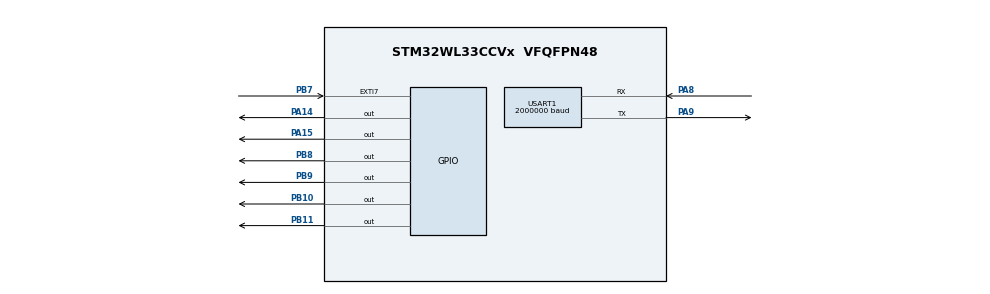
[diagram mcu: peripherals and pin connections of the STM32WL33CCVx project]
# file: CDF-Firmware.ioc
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MRSUBG.DataWhitening=DISABLE
MRSUBG.PADrvMode=PA_DRV_TX_HP
MRSUBG.PreambleLength=8
MRSUBG.SyncLength=31
MRSUBG.SyncWord=0x88888888
MRSUBG.lBandwidth=800000
MRSUBG.lDatarate=38400
MRSUBG.lFreqDev=20000
MRSUBG.lFrequencyBase=433000000
MRSUBG.outputPower=14
MRSUBG.xModulationSelect=MOD_OOK
Mcu.Family=STM32WL3
Mcu.Name=STM32WL33CCVx
Mcu.Package=VFQFPN48
Mcu.UserConstants=PAYLOAD_LENGTH,0
NVIC.GPIOB_IRQn=true\:0\:0\:false\:false\:true\:true\:true\:true
NVIC.USART1_IRQn=true\:0\:0\:false\:false\:true\:true\:true\:true
OSCIN.Mode=HSE-External-Oscillator
OSCIN.Signal=RCC_OSC_IN
OSCOUT.Mode=HSE-External-Oscillator
OSCOUT.Signal=RCC_OSC_OUT
PA14.Signal=GPIO_Output
PA15.Signal=GPIO_Output
PA8.Mode=Asynchronous
PA8.Signal=USART1_RX
PA9.Mode=Asynchronous
PA9.Signal=USART1_TX
PB10.Signal=GPIO_Output
PB11.Signal=GPIO_Output
PB7.Signal=GPXTI7
PB8.Signal=GPIO_Output
PB9.Signal=GPIO_Output
ProjectManager.HeapSize=0x000
ProjectManager.StackSize=0xC00
ProjectManager.TargetToolchain=STM32CubeIDE
RCC.HSE_VALUE=48000000
RCC.HSI_VALUE=64000000
RCC.LSE_VALUE=32768
RCC.RC64MPLLSource=RCC_LSCOSOURCE_PLL64
TIM16.Period=0xFFFF-1
TIM2.Period=0xFFFF-1
TIM2.Prescaler=64-1
USART1.BaudRate=2000000
USART1.OverSampling=UART_OVERSAMPLING_8
USART1.VirtualMode-Asynchronous=VM_ASYNC
VP_IWDG_VS_IWDG.Mode=IWDG_Activate
VP_MRSUBG_VS_RF.Mode=MRSUBG_Activate
VP_PWR_VS_SECSignals.Mode=Security/Privilege
VP_RNG_VS_RNG.Mode=RNG_Activate
VP_TIM16_VS_ClockSourceINT.Mode=Enable_Timer
VP_TIM2_VS_ClockSourceINT.Mode=Internal
board=custom

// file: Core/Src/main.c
/* USER CODE BEGIN Header */
/**
  ******************************************************************************
  * @file           : main.c
  * @brief          : Main program body
  ******************************************************************************
  * @attention
  *
  * Copyright (c) 2026 STMicroelectronics.
  * All rights reserved.
  *
  * This software is licensed under terms that can be found in the LICENSE file
  * in the root directory of this software component.
  * If no LICENSE file comes with this software, it is provided AS-IS.
  *
  ******************************************************************************
  */
/* USER CODE END Header */
#include "main.h"

/* USER CODE BEGIN Includes */
#include <stdint.h>
#include <stdio.h>
#include <inttypes.h>
#include <stdbool.h>

#include "my_stm32wl3x_hal.h"
#include "banner.h"
#include "frame.h"
#include "BSP_CDF_V1.h"
/* USER CODE END Includes */

/* USER CODE BEGIN PTD */
#define N_IQ_SAMPLES_PER_BUFFER 3500
//typedef struct {
//    IQ buf0[N_IQ_SAMPLES_PER_BUFFER];
//    IQ buf1[N_IQ_SAMPLES_PER_BUFFER];
//} IqBuffers;

typedef union {
  struct {
      int16_t I;
      int16_t Q;
  } iq;
  struct {
      uint8_t b0;
      uint8_t b1;
      uint8_t b2;
      uint8_t b3;
  } bytes;
  uint32_t u32;
} IQ;

typedef union {
  IQ iq[N_IQ_SAMPLES_PER_BUFFER];
  uint8_t w[N_IQ_SAMPLES_PER_BUFFER * 4];
} Buffer;

typedef struct {
  Buffer buf0;
  Buffer buf1;
} Buffers;

typedef enum {
  IDLE,
  RECEIVING_IQ,
  ABORTING_AFTER_RECEIVE_IQ,
  RECEIVING_NORMAL,
  ABORTING_AFTER_RECEIVE_NORMAL_TIMEOUT,
  BEACON
} State;

/* USER CODE END PTD */

/* USER CODE BEGIN PM */
#define is ==
#define and &&
#define not !

#define rn "\r\n"

#define BEGIN_UART_RX HAL_UART_Receive_IT(&huart1, uartRxBuffer, 1);
/* USER CODE END PM */

IWDG_HandleTypeDef hiwdg;

SMRSubGConfig MRSUBG_RadioInitStruct;
MRSubG_PcktBasicFields MRSUBG_PacketSettingsStruct;

RNG_HandleTypeDef hrng;

TIM_HandleTypeDef htim2;
TIM_HandleTypeDef htim16;

UART_HandleTypeDef huart1;

/* USER CODE BEGIN PV */
__attribute__((aligned(4))) Buffers buffers;

#define UART_RX_BUFFER_SIZE 16
uint8_t uartRxBuffer[UART_RX_BUFFER_SIZE];

char command = 0;
bool extiTriggered = false;
uint32_t const beaconPeriodMs = 100;
uint32_t lastBeaconTime = 0;
/* USER CODE END PV */

void SystemClock_Config(void);
void PeriphCommonClock_Config(void);
static void MX_GPIO_Init(void);
static void MX_USART1_UART_Init(void);
static void MX_IWDG_Init(void);
static void MX_RNG_Init(void);
static void MX_MRSUBG_Init(void);
static void MX_TIM2_Init(void);
static void MX_TIM16_Init(void);

/* USER CODE BEGIN 0 */
// Makes UART work with printf
int __io_putchar(int ch) {
  HAL_UART_Transmit(&huart1, (uint8_t *)&ch, 1, HAL_MAX_DELAY);
  return ch;
}

static inline uint16_t getUs(void) {
  return __HAL_TIM_GET_COUNTER(&htim2);
}
static inline bool usHavePassed(uint16_t const start, uint16_t const period) {
  return getUs() - start >= period;
}
static inline void delayUs(uint16_t delay) {
  uint16_t const start = getUs();
  while (not usHavePassed(start, delay)) {
    HAL_IWDG_Refresh(&hiwdg);
  }
}

static inline uint32_t getMs(void) {
  return HAL_GetTick();
}
static inline bool msHavePassed(uint32_t const start, uint32_t const period) {
  return getMs() - start >= period;
}

/* USER CODE END 0 */

int main(void)
{

  /* MCU Configuration--------------------------------------------------------*/

  /* Reset of all peripherals, Initializes the Flash interface and the Systick. */
  HAL_Init();

  /* Configure the system clock */
  SystemClock_Config();

  /* Configure the peripherals common clocks */
  PeriphCommonClock_Config();

  /* USER CODE BEGIN SysInit */
  // Initialize with ordered, easily debuggable values
  for (uint32_t i = 0; i < N_IQ_SAMPLES_PER_BUFFER; ++i) {
    buffers.buf0.iq[i].bytes.b0 = (uint8_t)(i);
    buffers.buf0.iq[i].bytes.b1 = (uint8_t)(i);
    buffers.buf0.iq[i].bytes.b2 = (uint8_t)(i);
    buffers.buf0.iq[i].bytes.b3 = (uint8_t)(i);
    buffers.buf1.iq[i].bytes.b0 = (uint8_t)(i);
    buffers.buf1.iq[i].bytes.b1 = (uint8_t)(i);
    buffers.buf1.iq[i].bytes.b2 = (uint8_t)(i);
    buffers.buf1.iq[i].bytes.b3 = (uint8_t)(i);
  }
  /* USER CODE END SysInit */

  /* Initialize all configured peripherals */
  MX_GPIO_Init();
  MX_USART1_UART_Init();
  MX_IWDG_Init();
  MX_RNG_Init();
  MX_MRSUBG_Init();
  MX_TIM2_Init();
  MX_TIM16_Init();
  /* USER CODE BEGIN 2 */
  HAL_TIM_Base_Start(&htim2);
  HAL_TIM_Base_Start(&htim16);
  bool const iAmMaster = HAL_GET_UID64_L() is 0x4FDFDA07;

  printf(rn rn);
  printf(BANNER rn);
  printf("@ %s - %s"rn, __DATE__, __TIME__);
  BEGIN_UART_RX;

  HAL_MRSUBG_SET_AGC_MEAS_TIME_BITS(10);
  HAL_MRSUBG_SET_AGC_FREEZE_ON_SYNC(false);
  HAL_MRSUBG_SET_AGC_FREEZE_ON_STEADY(false);
  BSP_SWITCH_RF_PATH_ANTENNAS();
  /* USER CODE END 2 */

  /* Infinite loop */
  /* USER CODE BEGIN WHILE */
  State state = IDLE;
  bool fullFrames = false;
  uint16_t const shortFrameWidth = 500;
  uint16_t const shortFrameCaliStart = 130;
  uint16_t const shortFramePongStart = 5200;
  uint16_t pingTimestampMs = 0;
  while (1) {
    /* USER CODE END WHILE */

    /* USER CODE BEGIN 3 */

    // Command Interpreter
    if (command != 0) {
      if (command is 'a') {
        BSP_SWITCH_RF_PATH_ANTENNAS();
        printf("RF path set to antennas"rn);
      }
      else if (command is 'b') {
        BSP_SWITCH_RF_PATH_COMMON();
        printf("RF path set to common"rn);
      }
      else if (command is 'c') {
        if (state is IDLE) {
          state = BEACON;
          printf("Beacon mode enabled with T=%" PRId32 " ms"rn, beaconPeriodMs);
        } else if (state is BEACON) {
          state = IDLE;
          printf("Beacon mode disabled."rn);
        } else {
          printf("Can't switch beacon mode while in state %d"rn, state);
        }
      }
      else if (command is 'd') {
        printf("%s - %s"rn, __DATE__, __TIME__);
      }
      else if (command is 'g') {
        HAL_MRSUBG_SET_AGC_ENABLED(not HAL_MRSUBG_GET_AGC_ENABLED());
        printf("Automatic Gain Control=%d"rn, HAL_MRSUBG_GET_AGC_ENABLED());
      }
      else if (command is 'm') {
        int const msgLengthBits =
          MRSUBG_PacketSettingsStruct.PreambleLength +
          ( (MRSUBG_PacketSettingsStruct.SyncPresent == ENABLE) ? MRSUBG_PacketSettingsStruct.SyncLength : 0) +
          ( (MRSUBG_PacketSettingsStruct.FixVarLength == FIXED) ? 0 : (8*(1+MRSUBG_PacketSettingsStruct.LengthWidth)) ) +
          PAYLOAD_LENGTH +
          MRSUBG_PacketSettingsStruct.PostambleLength +
          crcBits(MRSUBG_PacketSettingsStruct.CrcMode)
        ;
        printf("Message structure: (%d bits total)"rn
          "        Preamble  : %d"rn
          "        Sync      : %d"rn
          "        Len       : %d"rn
          "        Payload   : %d"rn
          "        Postamble : %d"rn
          "        CRC       : %d"rn
          , msgLengthBits
          , MRSUBG_PacketSettingsStruct.PreambleLength
          , ( (MRSUBG_PacketSettingsStruct.SyncPresent == ENABLE) ? MRSUBG_PacketSettingsStruct.SyncLength : 0)
          , ( (MRSUBG_PacketSettingsStruct.FixVarLength == FIXED) ? 0 : (8*(1+MRSUBG_PacketSettingsStruct.LengthWidth)) )
          , PAYLOAD_LENGTH
          , MRSUBG_PacketSettingsStruct.PostambleLength
          , crcBits(MRSUBG_PacketSettingsStruct.CrcMode)
        );

        float const msgLengthMs = 1000.0f * (msgLengthBits) / MRSUBG_RadioInitStruct.lDatarate;
        printf("Msg duration = %f ms"rn, msgLengthMs);
      }
      else if (command is 'p') {
        transmitFrame(
          N_IQ_SAMPLES_PER_BUFFER * sizeof(IQ),
          buffers.buf0.w,
          N_IQ_SAMPLES_PER_BUFFER * sizeof(IQ),
          buffers.buf1.w,
          &hiwdg
        );
      }
      else if (command is 'r') {
        printf("Resetting..."rn);
        NVIC_SystemReset();
      }
      else if (command is 't') {
        if (state is IDLE) {
          printf("Transmitting..."rn);
          startTx();
          waitForTxDone();
          printf("Transmission finished"rn);
        } else {
          printf("Can't Transmit when not in idle"rn);
        }
      }
      else if (command is 'u') {
        printf("%" PRIX32 "-%" PRIX32 " %s"rn, HAL_GET_UID64_M(), HAL_GET_UID64_L(), iAmMaster ? "(MASTER)" : "");
      }
      else if (command is 'v') {
        fullFrames = false;
        printf("Enabled short frame mode %" PRIu16 ":%" PRIu16 ", %" PRIu16 ":%" PRIu16 rn, shortFrameCaliStart, shortFrameWidth, shortFramePongStart, shortFrameWidth);
      }
      else if (command is 'w') {
        fullFrames = true;
        printf("Enabled full frame mode"rn);
      }
      else if (command is 'x') {
        if (iAmMaster) {
          if (state is IDLE) {
            printf("Starting routine"rn);

            // Positive Flanke. Löst bei slaves exti aus, der aufzeichnung startet
            HAL_GPIO_WriteMultipleStatePin(GPIOB, 0, GPIO_PIN_8 | GPIO_PIN_9 | GPIO_PIN_10 | GPIO_PIN_11);
            HAL_GPIO_WriteMultipleStatePin(GPIOB, GPIO_PIN_8 | GPIO_PIN_9 | GPIO_PIN_10 | GPIO_PIN_11, 0);
            // Kalibrier-Nachricht senden
            BSP_SWITCH_RF_PATH_COMMON();
            LL_MRSubG_SetSecondarySync(true);
            LL_MRSubG_SetSecondarySyncWord(0xFFFFFFFF);
            startTx();
            waitForTxDone();
            printf("Calibration sent"rn);
            // Ping senden
            BSP_SWITCH_RF_PATH_ANTENNAS();
            LL_MRSubG_SetSecondarySync(false);
            startTx();
            pingTimestampMs = getMs();
            waitForTxDone();
            delayUs(50);
            printf("Ping sent"rn);
            // Als master jetzt selbst auf normalen empfang schalten
            LL_MRSubG_SetSecondarySync(true);
            LL_MRSubG_SetSecondarySyncWord(0xFFFFFFFF);
            startNormalRx();
            state = RECEIVING_NORMAL;
            printf("Normal RX started on master after routine"rn);
          } else {
            printf("Can't start routine when not in idle"rn);
          }
        }
      }

      command = 0;
    } // End Command Interpreter

    if (extiTriggered) {
      extiTriggered = false;
      if (state is IDLE) {
        if (not iAmMaster) {
          printf("Slave started IQ RX on EXTI"rn);
          startIqRx();
          state = RECEIVING_IQ;
        } else {
          printf("EXTI on master!?!?!? ignored."rn);
        }
      } else {
        printf("EXTI ignored while not in IDLE."rn);
      }
    }

    // Radio Handling

    // Fehlermeldung
    if (__HAL_MRSUBG_GET_RFSEQ_IRQ_STATUS() & MR_SUBG_GLOB_STATUS_RFSEQ_IRQ_STATUS_COMMAND_REJECTED_F) {
      __HAL_MRSUBG_CLEAR_RFSEQ_IRQ_FLAG(MR_SUBG_GLOB_STATUS_RFSEQ_IRQ_STATUS_COMMAND_REJECTED_F);
      printf("COMMAND REJECTED"rn);
    }

    // Wenn beide Buffer beschrieben wurden, Empfang stoppen
    // TODO: Eventuell werden schon die ersten paar samples im ersten Buffer wieder überschrieben
    if (state is RECEIVING_IQ and HAL_MRSUBG_GET_NUMBER_OF_BUFFERS_USED() >= 2) {
      __HAL_MRSUBG_STROBE_CMD(CMD_SABORT);
      state = ABORTING_AFTER_RECEIVE_IQ;
      HAL_GPIO_WritePin(GPIOB, GPIO_PIN_0, GPIO_PIN_RESET);
    }
    // Wenn gestoppt, Daten ausgeben und zurück zu IDLE Betrieb
    if (state is ABORTING_AFTER_RECEIVE_IQ and
      __HAL_MRSUBG_GET_RFSEQ_IRQ_STATUS() & MR_SUBG_GLOB_STATUS_RFSEQ_IRQ_STATUS_SABORT_DONE_F
    ) {
      __HAL_MRSUBG_CLEAR_RFSEQ_IRQ_FLAG(MR_SUBG_GLOB_STATUS_RFSEQ_IRQ_STATUS_SABORT_DONE_F);

      uint8_t* pointerToOlderBuffer;
      uint8_t* pointerToNewerBuffer;
      int newerBuffer = not HAL_MRSUBG_GET_CURRENT_BUFFER(); // Negieren, weil Buffer bereits gewechselt wurde
      if (newerBuffer == 1) {
        pointerToOlderBuffer = buffers.buf0.w;
        pointerToNewerBuffer = buffers.buf1.w;
      } else {
        pointerToOlderBuffer = buffers.buf1.w;
        pointerToNewerBuffer = buffers.buf0.w;
      }
      transmitFrame(
        N_IQ_SAMPLES_PER_BUFFER * sizeof(IQ),
        pointerToOlderBuffer,
        N_IQ_SAMPLES_PER_BUFFER * sizeof(IQ),
        pointerToNewerBuffer,
        &hiwdg
      );
      state = IDLE;
    }
    if (state is RECEIVING_NORMAL and
      __HAL_MRSUBG_GET_RFSEQ_IRQ_STATUS() & MR_SUBG_GLOB_STATUS_RFSEQ_IRQ_STATUS_SYNC_VALID_F
    ) {
      __HAL_MRSUBG_CLEAR_RFSEQ_IRQ_FLAG(MR_SUBG_GLOB_STATUS_RFSEQ_IRQ_STATUS_SYNC_VALID_F);
      uint16_t const rssiOnSync = LL_MRSubG_GetRssiLevelOnSync();
      uint32_t const roundTripTime = getMs()-pingTimestampMs;
      printf("Pong! after %"PRIu32" ms | rssi=%"PRIu16""rn, roundTripTime, rssiOnSync);
      // TODO: Wenn das packet daten hätte, dann hier auslesen
      state = IDLE;
    }
    uint16_t const pingTimeoutMs = 20;
    if (state is RECEIVING_NORMAL and msHavePassed(pingTimestampMs, pingTimeoutMs)) {
      __HAL_MRSUBG_STROBE_CMD(CMD_SABORT);
      state = ABORTING_AFTER_RECEIVE_NORMAL_TIMEOUT;
    }
    if (state is ABORTING_AFTER_RECEIVE_NORMAL_TIMEOUT and
      __HAL_MRSUBG_GET_RFSEQ_IRQ_STATUS() & MR_SUBG_GLOB_STATUS_RFSEQ_IRQ_STATUS_SABORT_DONE_F
    ) {
      __HAL_MRSUBG_CLEAR_RFSEQ_IRQ_FLAG(MR_SUBG_GLOB_STATUS_RFSEQ_IRQ_STATUS_SABORT_DONE_F);
      printf("Timeout! Ping wasnt pong'd after %d ms"rn, pingTimeoutMs);
      state = IDLE;
    }

    if (state is BEACON and HAL_GetTick() - lastBeaconTime >= beaconPeriodMs) {
      startTx();
      waitForTxDone();
      lastBeaconTime = HAL_GetTick();
    }
    // Reset Watchdog
    HAL_IWDG_Refresh(&hiwdg);
  }
  /* USER CODE END 3 */
}

void SystemClock_Config(void)
{
  RCC_OscInitTypeDef RCC_OscInitStruct = {0};
  RCC_ClkInitTypeDef RCC_ClkInitStruct = {0};

  /** Initializes the RCC Oscillators according to the specified parameters
  * in the RCC_OscInitTypeDef structure.
  */
  RCC_OscInitStruct.OscillatorType = RCC_OSCILLATORTYPE_LSI|RCC_OSCILLATORTYPE_HSE;
  RCC_OscInitStruct.HSEState = RCC_HSE_ON;
  RCC_OscInitStruct.LSIState = RCC_LSI_ON;
  if (HAL_RCC_OscConfig(&RCC_OscInitStruct) != HAL_OK)
  {
    Error_Handler();
  }

  /** Configure the SYSCLKSource and SYSCLKDivider
  */
  RCC_ClkInitStruct.SYSCLKSource = RCC_SYSCLKSOURCE_RC64MPLL;
  RCC_ClkInitStruct.SYSCLKDivider = RCC_RC64MPLL_DIV1;

  if (HAL_RCC_ClockConfig(&RCC_ClkInitStruct, FLASH_WAIT_STATES_1) != HAL_OK)
  {
    Error_Handler();
  }
}

void PeriphCommonClock_Config(void)
{
  RCC_PeriphCLKInitTypeDef PeriphClkInitStruct = {0};

  /** Initializes the peripherals clock
  */
  PeriphClkInitStruct.PeriphClockSelection = RCC_PERIPHCLK_SMPS;
  PeriphClkInitStruct.SmpsDivSelection = RCC_SMPSCLK_DIV2;
  PeriphClkInitStruct.KRMRateMultiplier = 2;

  if (HAL_RCCEx_PeriphCLKConfig(&PeriphClkInitStruct) != HAL_OK)
  {
    Error_Handler();
  }
}

static void MX_IWDG_Init(void)
{

  hiwdg.Instance = IWDG;
  hiwdg.Init.Prescaler = IWDG_PRESCALER_4;
  hiwdg.Init.Window = 4095;
  hiwdg.Init.Reload = 4095;
  if (HAL_IWDG_Init(&hiwdg) != HAL_OK)
  {
    Error_Handler();
  }

}

static void MX_MRSUBG_Init(void)
{

  /** Configures the radio parameters
  */
  MRSUBG_RadioInitStruct.lFrequencyBase = 433000000;
  MRSUBG_RadioInitStruct.xModulationSelect = MOD_OOK;
  MRSUBG_RadioInitStruct.lDatarate = 38400;
  MRSUBG_RadioInitStruct.lFreqDev = 20000;
  MRSUBG_RadioInitStruct.lBandwidth = 800000;
  MRSUBG_RadioInitStruct.dsssExp = 0;
  MRSUBG_RadioInitStruct.outputPower = 14;
  MRSUBG_RadioInitStruct.PADrvMode = PA_DRV_TX_HP;
  HAL_MRSubG_Init(&MRSUBG_RadioInitStruct);

  /** Configures the packet parameters
  */
  MRSUBG_PacketSettingsStruct.PreambleLength = 8;
  MRSUBG_PacketSettingsStruct.PostambleLength = 0;
  MRSUBG_PacketSettingsStruct.SyncLength = 31;
  MRSUBG_PacketSettingsStruct.SyncWord = 0x88888888;
  MRSUBG_PacketSettingsStruct.FixVarLength = FIXED;
  MRSUBG_PacketSettingsStruct.PreambleSequence = PRE_SEQ_0101;
  MRSUBG_PacketSettingsStruct.PostambleSequence = POST_SEQ_0101;
  MRSUBG_PacketSettingsStruct.CrcMode = PKT_NO_CRC;
  MRSUBG_PacketSettingsStruct.Coding = CODING_NONE;
  MRSUBG_PacketSettingsStruct.DataWhitening = DISABLE;
  MRSUBG_PacketSettingsStruct.LengthWidth = BYTE_LEN_1;
  MRSUBG_PacketSettingsStruct.SyncPresent = ENABLE;
  HAL_MRSubG_PacketBasicInit(&MRSUBG_PacketSettingsStruct);

}

static void MX_RNG_Init(void)
{

  hrng.Instance = RNG;
  hrng.Init.ClockErrorDetection = RNG_CED_ENABLE;
  if (HAL_RNG_Init(&hrng) != HAL_OK)
  {
    Error_Handler();
  }

}

static void MX_TIM2_Init(void)
{

  TIM_ClockConfigTypeDef sClockSourceConfig = {0};
  TIM_MasterConfigTypeDef sMasterConfig = {0};

  htim2.Instance = TIM2;
  htim2.Init.Prescaler = 64-1;
  htim2.Init.CounterMode = TIM_COUNTERMODE_UP;
  htim2.Init.Period = 0xFFFF-1;
  htim2.Init.ClockDivision = TIM_CLOCKDIVISION_DIV1;
  htim2.Init.AutoReloadPreload = TIM_AUTORELOAD_PRELOAD_DISABLE;
  if (HAL_TIM_Base_Init(&htim2) != HAL_OK)
  {
    Error_Handler();
  }
  sClockSourceConfig.ClockSource = TIM_CLOCKSOURCE_INTERNAL;
  if (HAL_TIM_ConfigClockSource(&htim2, &sClockSourceConfig) != HAL_OK)
  {
    Error_Handler();
  }
  sMasterConfig.MasterOutputTrigger = TIM_TRGO_RESET;
  sMasterConfig.MasterSlaveMode = TIM_MASTERSLAVEMODE_DISABLE;
  if (HAL_TIMEx_MasterConfigSynchronization(&htim2, &sMasterConfig) != HAL_OK)
  {
    Error_Handler();
  }

}

static void MX_TIM16_Init(void)
{

  TIM_MasterConfigTypeDef sMasterConfig = {0};

  htim16.Instance = TIM16;
  htim16.Init.Prescaler = 0;
  htim16.Init.CounterMode = TIM_COUNTERMODE_UP;
  htim16.Init.Period = 0xFFFF-1;
  htim16.Init.ClockDivision = TIM_CLOCKDIVISION_DIV1;
  htim16.Init.RepetitionCounter = 0;
  htim16.Init.AutoReloadPreload = TIM_AUTORELOAD_PRELOAD_DISABLE;
  if (HAL_TIM_Base_Init(&htim16) != HAL_OK)
  {
    Error_Handler();
  }
  sMasterConfig.MasterOutputTrigger = TIM_TRGO_RESET;
  sMasterConfig.MasterSlaveMode = TIM_MASTERSLAVEMODE_DISABLE;
  if (HAL_TIMEx_MasterConfigSynchronization(&htim16, &sMasterConfig) != HAL_OK)
  {
    Error_Handler();
  }

}

static void MX_USART1_UART_Init(void)
{

  huart1.Instance = USART1;
  huart1.Init.BaudRate = 2000000;
  huart1.Init.WordLength = UART_WORDLENGTH_8B;
  huart1.Init.StopBits = UART_STOPBITS_1;
  huart1.Init.Parity = UART_PARITY_NONE;
  huart1.Init.Mode = UART_MODE_TX_RX;
  huart1.Init.HwFlowCtl = UART_HWCONTROL_NONE;
  huart1.Init.OverSampling = UART_OVERSAMPLING_8;
  huart1.Init.OneBitSampling = UART_ONE_BIT_SAMPLE_DISABLE;
  huart1.Init.ClockPrescaler = UART_PRESCALER_DIV1;
  huart1.AdvancedInit.AdvFeatureInit = UART_ADVFEATURE_NO_INIT;
  if (HAL_UART_Init(&huart1) != HAL_OK)
  {
    Error_Handler();
  }
  if (HAL_UARTEx_SetTxFifoThreshold(&huart1, UART_TXFIFO_THRESHOLD_1_8) != HAL_OK)
  {
    Error_Handler();
  }
  if (HAL_UARTEx_SetRxFifoThreshold(&huart1, UART_RXFIFO_THRESHOLD_1_8) != HAL_OK)
  {
    Error_Handler();
  }
  if (HAL_UARTEx_DisableFifoMode(&huart1) != HAL_OK)
  {
    Error_Handler();
  }

}

static void MX_GPIO_Init(void)
{
  GPIO_InitTypeDef GPIO_InitStruct = {0};

  /* GPIO Ports Clock Enable */
  __HAL_RCC_GPIOA_CLK_ENABLE();
  __HAL_RCC_GPIOB_CLK_ENABLE();

  /*Configure GPIO pin Output Level */
  HAL_GPIO_WritePin(GPIOB, GPIO_PIN_11|GPIO_PIN_10|GPIO_PIN_9|GPIO_PIN_8, GPIO_PIN_RESET);

  /*Configure GPIO pin Output Level */
  HAL_GPIO_WritePin(GPIOA, GPIO_PIN_14|GPIO_PIN_15, GPIO_PIN_RESET);

  /*Configure GPIO pin : PB7 */
  GPIO_InitStruct.Pin = GPIO_PIN_7;
  GPIO_InitStruct.Mode = GPIO_MODE_IT_RISING;
  GPIO_InitStruct.Pull = GPIO_NOPULL;
  HAL_GPIO_Init(GPIOB, &GPIO_InitStruct);

  /*Configure GPIO pins : PB11 PB10 PB9 PB8 */
  GPIO_InitStruct.Pin = GPIO_PIN_11|GPIO_PIN_10|GPIO_PIN_9|GPIO_PIN_8;
  GPIO_InitStruct.Mode = GPIO_MODE_OUTPUT_PP;
  GPIO_InitStruct.Pull = GPIO_NOPULL;
  GPIO_InitStruct.Speed = GPIO_SPEED_FREQ_LOW;
  HAL_GPIO_Init(GPIOB, &GPIO_InitStruct);

  /*Configure GPIO pins : PA14 PA15 */
  GPIO_InitStruct.Pin = GPIO_PIN_14|GPIO_PIN_15;
  GPIO_InitStruct.Mode = GPIO_MODE_OUTPUT_PP;
  GPIO_InitStruct.Pull = GPIO_NOPULL;
  GPIO_InitStruct.Speed = GPIO_SPEED_FREQ_LOW;
  HAL_GPIO_Init(GPIOA, &GPIO_InitStruct);

  /**/
  HAL_PWREx_DisableGPIOPullUp(PWR_GPIO_B, PWR_GPIO_BIT_11|PWR_GPIO_BIT_10|PWR_GPIO_BIT_9|PWR_GPIO_BIT_8);

  /**/
  HAL_PWREx_DisableGPIOPullUp(PWR_GPIO_A, PWR_GPIO_BIT_14|PWR_GPIO_BIT_15);

  /**/
  HAL_PWREx_DisableGPIOPullDown(PWR_GPIO_B, PWR_GPIO_BIT_11|PWR_GPIO_BIT_10|PWR_GPIO_BIT_9|PWR_GPIO_BIT_8);

  /**/
  HAL_PWREx_DisableGPIOPullDown(PWR_GPIO_A, PWR_GPIO_BIT_14|PWR_GPIO_BIT_15);

  /* EXTI interrupt init*/
  HAL_NVIC_SetPriority(GPIOB_IRQn, 0, 0);
  HAL_NVIC_EnableIRQ(GPIOB_IRQn);

}

/* USER CODE BEGIN 4 */

void HAL_UART_RxCpltCallback(UART_HandleTypeDef *huart) {
  BEGIN_UART_RX;
  command = uartRxBuffer[0];

  //  char sanitizedBuffer[UART_RX_BUFFER_SIZE + 1];
  //  for (size_t i = 0; i < UART_RX_BUFFER_SIZE; i++) {
  //    char c = uartRxBuffer[i];
  //    if (c >= 32 && c <= 126) { // Printable ASCII range
  //      sanitizedBuffer[i] = c;
  //    } else {
  //      sanitizedBuffer[i] = '#';
  //    }
  //  }
  //  sanitizedBuffer[UART_RX_BUFFER_SIZE] = '\0'; // Null-terminate the string
  //
  //    printf("ECHO ");
  //    printf(sanitizedBuffer);
  //    printf(""rn);
  //
  //  for (size_t i = 0; i < UART_RX_BUFFER_SIZE; i++) {
  //    uartRxBuffer[i] = 0; // Clear the buffer after processing
  //  }
}

void startNormalRx(void) {
  __HAL_MRSUBG_SET_DATABUFFER_SIZE(N_IQ_SAMPLES_PER_BUFFER * sizeof(IQ));
  __HAL_MRSUBG_SET_DATABUFFER0_POINTER((uint32_t)&(buffers.buf0.iq[0].u32));
  __HAL_MRSUBG_SET_DATABUFFER1_POINTER((uint32_t)&(buffers.buf1.iq[0].u32));

  __HAL_MRSUBG_SET_RX_MODE(RX_NORMAL);
  __HAL_MRSUBG_STROBE_CMD(CMD_RX);
}

void startIqRx(void) {
  __HAL_MRSUBG_SET_DATABUFFER_SIZE(N_IQ_SAMPLES_PER_BUFFER * sizeof(IQ));
  __HAL_MRSUBG_SET_DATABUFFER0_POINTER((uint32_t)&(buffers.buf0.iq[0].u32));
  __HAL_MRSUBG_SET_DATABUFFER1_POINTER((uint32_t)&(buffers.buf1.iq[0].u32));

  __HAL_MRSUBG_SET_RX_MODE(RX_IQ_SAMPLING);
  __HAL_MRSUBG_STROBE_CMD(CMD_RX);
}

void startTx(void) {
  /* Payload length config */
  HAL_MRSubG_PktBasicSetPayloadLength(PAYLOAD_LENGTH);
  /* Set TX Mode to Normal Mode*/
  __HAL_MRSUBG_SET_TX_MODE(TX_NORMAL);
  /* Set the pointer to the data buffer */
  __HAL_MRSUBG_SET_DATABUFFER0_POINTER((uint32_t)&buffers);
  /* Send the TX command */
  __HAL_MRSUBG_STROBE_CMD(CMD_TX);
}

void waitForTxDone() {
  while((__HAL_MRSUBG_GET_RFSEQ_IRQ_STATUS() & MR_SUBG_GLOB_STATUS_RFSEQ_IRQ_STATUS_TX_DONE_F) == 0) {
    HAL_IWDG_Refresh(&hiwdg);
  };
  __HAL_MRSUBG_CLEAR_RFSEQ_IRQ_FLAG(MR_SUBG_GLOB_STATUS_RFSEQ_IRQ_STATUS_TX_DONE_F);
}

void HAL_GPIO_EXTI_Callback(GPIO_TypeDef* GPIOx, uint16_t GPIO_Pin) {
  if (GPIOx == GPIOB && GPIO_Pin == GPIO_PIN_7) {
    extiTriggered = true;
  }
}

/* USER CODE END 4 */

void Error_Handler(void)
{
  /* USER CODE BEGIN Error_Handler_Debug */
    /* User can add his own implementation to report the HAL error return state */
    printf("ERROR"rn);
    __disable_irq();
    while (1)
    {
    }
  /* USER CODE END Error_Handler_Debug */
}
